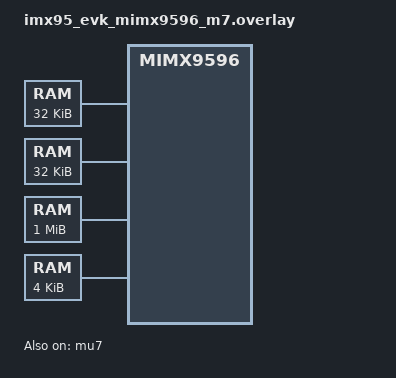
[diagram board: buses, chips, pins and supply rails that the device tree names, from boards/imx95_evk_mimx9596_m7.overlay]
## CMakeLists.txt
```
# SPDX-License-Identifier: Apache-2.0

cmake_minimum_required(VERSION 3.20.0)

find_package(Zephyr REQUIRED HINTS $ENV{ZEPHYR_BASE})
project(rpmsg_echo)

target_sources(app PRIVATE src/main.c)
```

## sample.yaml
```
sample:
  name: rpmsg echo
  description: Echo messages on a raw OpenAMP rpmsg endpoint
tests:
  sample.rproc_ipc.rpmsg_echo:
    platform_allow:
      - imx95_evk/mimx9596/m7
    integration_platforms:
      - imx95_evk/mimx9596/m7
    build_only: true
    tags:
      - ipc
      - remoteproc
```

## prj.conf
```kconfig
CONFIG_REMOTEPROC=y
CONFIG_OPENAMP=y
CONFIG_OPENAMP_MASTER=n

CONFIG_LOG=y
CONFIG_RPROC_LOG_LEVEL_INF=y
CONFIG_CONSOLE=y
CONFIG_UART_CONSOLE=y
CONFIG_PRINTK=y
CONFIG_HEAP_MEM_POOL_SIZE=4096
```

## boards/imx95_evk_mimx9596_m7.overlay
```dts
/*
 * SPDX-License-Identifier: Apache-2.0
 *
 * i.MX95 Cortex-M7 as a Linux remoteproc remote. Addresses, sizes and names
 * match the reserved-memory nodes in NXP's Linux devicetree for the i.MX95
 * EVK and FRDM-IMX95 (vdev0vring0, vdev0vring1, vdevbuffer, rsc-table): the
 * carveout names must equal the Linux node names, or Linux allocates a second
 * carveout of its own for each one instead of using the reserved region.
 */

/ {
	chosen {
		openamp,resource-table = &rsc_table;
	};

	vdev0vring0: memory@88000000 {
		compatible = "zephyr,memory-region";
		zephyr,memory-region = "vdev0vring0";
		reg = <0x88000000 0x8000>;
	};

	vdev0vring1: memory@88008000 {
		compatible = "zephyr,memory-region";
		zephyr,memory-region = "vdev0vring1";
		reg = <0x88008000 0x8000>;
	};

	vdevbuffer: memory@88020000 {
		compatible = "zephyr,memory-region";
		zephyr,memory-region = "vdevbuffer";
		reg = <0x88020000 0x100000>;
	};

	rsc_table_mem: memory@88220000 {
		compatible = "zephyr,memory-region";
		zephyr,memory-region = "rsc-table";
		reg = <0x88220000 0x1000>;
	};

	remoteproc {
		rsc_table: resource-table {
			compatible = "openamp,resource-table";
			carveouts = <&vdev0vring0 &vdev0vring1 &vdevbuffer>;
			vdevs = <&vdev0>;
			/* Linux reads and updates the table here, not where it is linked. */
			memory-region = <&rsc_table_mem>;
		};

		vrings {
			#address-cells = <1>;
			#size-cells = <0>;

			vdev0_tx: vring@0 {
				compatible = "openamp,vring";
				reg = <0>;
				#vring-cells = <0>;
				notify-id = <0>;
				device-address = <0x88000000>;
				memory-region = <&vdev0vring0>;
				num-buffers = <8>;
				mboxes = <&mu7 1>;
			};

			vdev0_rx: vring@1 {
				compatible = "openamp,vring";
				reg = <1>;
				#vring-cells = <0>;
				notify-id = <1>;
				device-address = <0x88008000>;
				memory-region = <&vdev0vring1>;
				num-buffers = <8>;
				mboxes = <&mu7 1>;
			};
		};

		vdevs {
			#address-cells = <1>;
			#size-cells = <0>;

			vdev0: vdev@0 {
				compatible = "openamp,rpmsg-virtio-device";
				reg = <0>;
				vrings = <&vdev0_tx &vdev0_rx>;
				vring-names = "tx", "rx";
				memory-region = <&vdevbuffer>;
			};
		};
	};
};

&mu7 {
	status = "okay";
};
```

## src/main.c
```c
/*
 * SPDX-License-Identifier: Apache-2.0
 *
 * Echo every message received on an "rpmsg-raw" endpoint back to its sender.
 *
 * On a Linux host the endpoint appears as /dev/rpmsgN once the name-service
 * announcement arrives; anything written to it comes straight back.
 */

#include <zephyr/device.h>
#include <zephyr/drivers/remoteproc.h>
#include <zephyr/kernel.h>
#include <zephyr/logging/log.h>

#include <openamp/rpmsg.h>

LOG_MODULE_REGISTER(rpmsg_echo, LOG_LEVEL_INF);

static const struct device *const vdev = DEVICE_DT_GET(DT_NODELABEL(vdev0));

static struct rpmsg_endpoint ept;
static uint32_t echoed;

static int ept_cb(struct rpmsg_endpoint *e, void *data, size_t len, uint32_t src, void *priv)
{
	ARG_UNUSED(priv);

	int ret = rpmsg_trysend(e, data, len);

	if (ret < 0) {
		LOG_ERR("echo of %zu bytes from 0x%x failed: %d", len, src, ret);
	} else {
		echoed++;
		LOG_INF("echoed %zu bytes (#%u)", len, echoed);
	}

	return RPMSG_SUCCESS;
}

int main(void)
{
	if (!device_is_ready(vdev)) {
		LOG_ERR("rpmsg vdev not ready");
		return 0;
	}

	struct rpmsg_device *rdev = z_rproc_get_rpmsg_device(vdev);
	int ret = rpmsg_create_ept(&ept, rdev, "rpmsg-raw", RPMSG_ADDR_ANY, RPMSG_ADDR_ANY, ept_cb,
				   NULL);

	if (ret) {
		LOG_ERR("rpmsg_create_ept failed: %d", ret);
		return 0;
	}

	LOG_INF("rpmsg-raw endpoint 0x%x announced", ept.addr);
	return 0;
}
```
